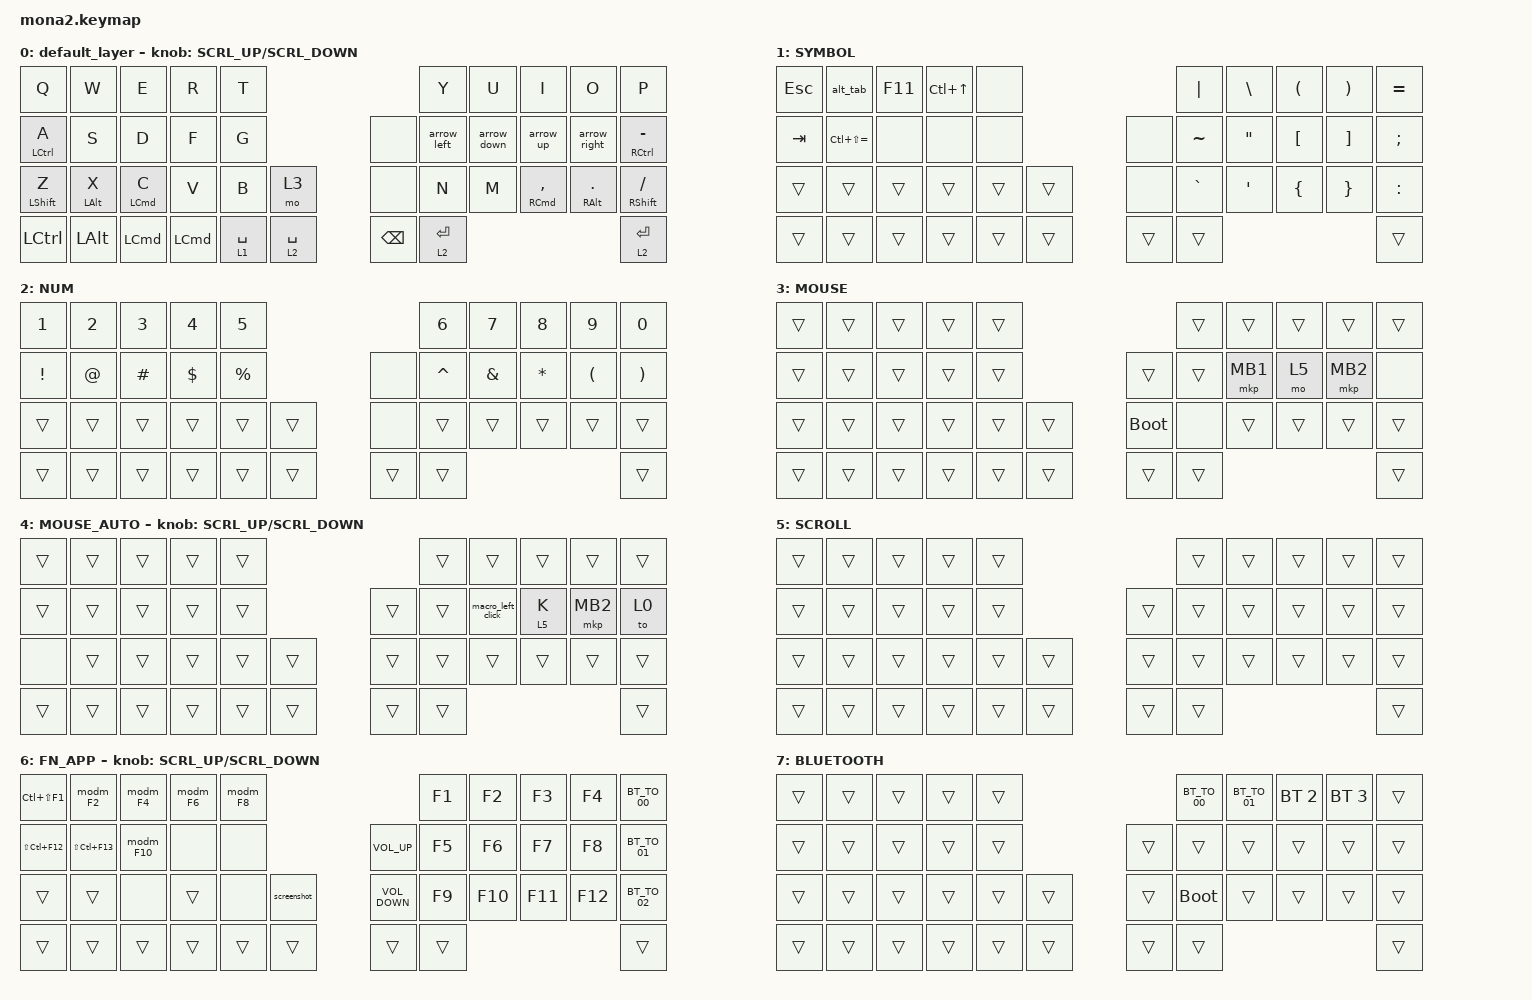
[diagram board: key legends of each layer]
#include <behaviors.dtsi>
#include <dt-bindings/zmk/bt.h>
#include <dt-bindings/zmk/keys.h>
#include <dt-bindings/zmk/pointing.h>
#include <input/processors.dtsi>

#define ZMK_POINTING_DEFAULT_SCRL_VAL 100
#define MOUSE 4
#define SCROLL 5
#define NUM 6

&mt {
    flavor = "balanced";
    quick-tap-ms = <0>;
    tapping-term-ms = <145>;
};

&lt {
    tapping-term-ms = <145>;
    quick-tap-ms = <0>;
    flavor = "balanced";
};

&sl { release-after-ms = <180>; };

// AML(レイヤー4)中にマウスクリックしたら250ms後にAML解除(ダブルクリック猶予)。
// zip_temp_layer は単一の共有インスタンスなので、こちらから reschedule すると
// 同じレイヤー状態のタイマーが 250ms に張り替わる (base chain 側は 30000ms)
&mkp_input_listener {
    input-processors = <&zip_temp_layer 4 250>;
};

/ {
    combos {
        compatible = "zmk,combos";

        CAG {
            bindings = <&kp LA(LG(LCTRL))>;
            key-positions = <22 23 21>;
        };

        CG {
            bindings = <&kp LG(LEFT_CONTROL)>;
            key-positions = <21 23>;
        };

        CA {
            bindings = <&kp LA(LCTRL)>;
            key-positions = <22 21>;
        };

        change_lang_left {
            bindings = <&change_language>;
            key-positions = <11 12 13>;
        };

        change_lang_right {
            bindings = <&change_language>;
            key-positions = <18 19 17>;
        };

        mute {
            bindings = <&lt 0 C_MUTE>;
            key-positions = <27 15>;
        };

        toLayer3 {
            bindings = <&mo 6>;
            key-positions = <37 40>;
        };
    };

    macros {
        change_language: change_language {
            compatible = "zmk,behavior-macro";
            #binding-cells = <0>;
            bindings =
                <&macro_press>,
                <&kp LEFT_COMMAND>,
                <&macro_wait_time 10>,
                <&macro_press>,
                <&kp SPACE>,
                <&macro_release>,
                <&kp LEFT_COMMAND &kp SPACE>;

            label = "CHANGE_LANGUAGE";
        };

        alt_tab: alt_tab {
            compatible = "zmk,behavior-macro";
            #binding-cells = <0>;
            bindings =
                <&macro_press>,
                <&kp LEFT_ALT>,
                <&macro_wait_time 20>,
                <&macro_tap>,
                <&kp TAB>,
                <&macro_release>,
                <&kp LEFT_ALT>;

            label = "ALT_TAB";
        };

        mouse_key_press: mouse_key_press {
            compatible = "zmk,behavior-macro";
            #binding-cells = <0>;
            bindings = <&macro_tap>, <&mkp MB1>;

            label = "MOUSE_KEY_PRESS";
        };

        macro_left_click: macro_left_click {
            compatible = "zmk,behavior-macro";
            #binding-cells = <0>;
            bindings =
                <&macro_press>,
                <&mkp LCLK>,
                <&macro_pause_for_release>,
                <&macro_release>,
                <&mkp LCLK>,
                <&macro_tap>,
                <&tog_off 4 &sl 4>;

            label = "MACRO_LEFT_CLICK";
        };

        BT_TO_00: BT_TO_00 {
            compatible = "zmk,behavior-macro";
            #binding-cells = <0>;
            bindings = <&macro_tap>, <&bt BT_SEL 0>, <&macro_tap>, <&to 0>;

            label = "BT_TO_00";
        };

        BT_TO_01: BT_TO_01 {
            compatible = "zmk,behavior-macro";
            #binding-cells = <0>;
            bindings = <&macro_tap>, <&bt BT_SEL 1>, <&macro_tap>, <&to 0>;

            label = "BT_TO_01";
        };

        BT_TO_02: BT_TO_02 {
            compatible = "zmk,behavior-macro";
            #binding-cells = <0>;
            bindings = <&macro_tap>, <&bt BT_SEL 2>, <&macro_tap>, <&to 0>;

            label = "BT_TO_02";
        };

        exit_AML: exit_AML {
            compatible = "zmk,behavior-macro";
            #binding-cells = <0>;
            wait-ms = <0>;
            bindings = <&tog_off 4>;

            label = "EXIT_AML";
        };

        // tap-ms は既定(30ms)のまま。0にするとホストがpress/releaseを
        // 取りこぼす可能性があり、多用するKの入力信頼性を優先する
        kp_exit_AML: kp_exit_AML {
            compatible = "zmk,behavior-macro-one-param";
            #binding-cells = <1>;
            wait-ms = <0>;
            bindings = <&macro_param_1to1 &kp MACRO_PLACEHOLDER &exit_AML>;

            label = "KP_EXIT_AML";
        };
    };

    behaviors {
        arrow_left: arrow_left {
            compatible = "zmk,behavior-mod-morph";
            label = "ARROW_LEFT";
            bindings = <&kp H>, <&kp LEFT>;

            #binding-cells = <0>;
            mods = <(MOD_LALT)>;
        };

        arrow_down: arrow_down {
            compatible = "zmk,behavior-mod-morph";
            label = "ARROW_DOWN";
            bindings = <&kp J>, <&kp DOWN>;

            #binding-cells = <0>;
            mods = <(MOD_LALT)>;
        };

        arrow_up: arrow_up {
            compatible = "zmk,behavior-mod-morph";
            label = "ARROW_UP";
            bindings = <&kp K>, <&kp UP_ARROW>;

            #binding-cells = <0>;
            mods = <(MOD_LALT)>;
        };

        arrow_right: arrow_right {
            compatible = "zmk,behavior-mod-morph";
            label = "ARROW_RIGHT";
            bindings = <&kp L>, <&kp RIGHT>;

            #binding-cells = <0>;
            mods = <(MOD_LALT)>;
        };

        modm_F2: modm_F2 {
            compatible = "zmk,behavior-mod-morph";
            label = "MODM_F2";
            bindings = <&kp LS(LC(F2))>, <&kp LS(LC(F3))>;

            #binding-cells = <0>;
            mods = <(MOD_LSFT|MOD_RSFT)>;
        };

        modm_F4: modm_F4 {
            compatible = "zmk,behavior-mod-morph";
            label = "MODM_F4";
            bindings = <&kp LS(LC(F4))>, <&kp LS(LC(F5))>;

            #binding-cells = <0>;
            mods = <(MOD_LSFT|MOD_RSFT)>;
        };

        modm_F6: modm_F6 {
            compatible = "zmk,behavior-mod-morph";
            label = "MODM_F6";
            bindings = <&kp LS(LC(F6))>, <&kp LS(LC(F7))>;

            #binding-cells = <0>;
            mods = <(MOD_LSFT|MOD_RSFT)>;
        };

        modm_F8: modm_F8 {
            compatible = "zmk,behavior-mod-morph";
            label = "MODM_F8";
            bindings = <&kp LS(LC(F8))>, <&kp LS(LC(F9))>;

            #binding-cells = <0>;
            mods = <(MOD_LSFT|MOD_RSFT)>;
        };

        modm_F10: modm_F10 {
            compatible = "zmk,behavior-mod-morph";
            label = "MODM_F10";
            bindings = <&kp LS(LC(F10))>, <&kp LS(LC(F11))>;

            #binding-cells = <0>;
            mods = <(MOD_LSFT|MOD_RSFT)>;
        };

        screenshot_cursor: screenshot_cursor {
            compatible = "zmk,behavior-mod-morph";
            label = "SCREENSHOT_CURSOR";
            bindings = <&kp LS(LG(NUMBER_4))>, <&kp LS(LG(NUMBER_6))>;

            #binding-cells = <0>;
            mods = <(MOD_LSFT|MOD_RSFT)>;
        };

        screenshot_area: screenshot_area {
            compatible = "zmk,behavior-mod-morph";
            label = "SCREENSHOT_AREA";
            bindings = <&kp LS(LG(N5))>, <&kp LS(LG(N7))>;

            #binding-cells = <0>;
            mods = <(MOD_LSFT|MOD_RSFT)>;
        };

        scroll_up_down: scroll_up_down {
            compatible = "zmk,behavior-sensor-rotate-var";
            label = "SCROLL_UP_DOWN";
            #sensor-binding-cells = <2>;
            bindings = <&msc>, <&msc>;

            tap-ms = <20>;
        };

        tog_off: toggle_layer_off_only {
            compatible = "zmk,behavior-toggle-layer";
            #binding-cells = <1>;
            display-name = "Toggle Layer Off";
            toggle-mode = "off";
        };

        screenshot: screenshot {
            compatible = "zmk,behavior-mod-morph";
            label = "SCREENSHOT";
            bindings = <&kp LS(LG(NUMBER_4))>, <&kp LS(LG(N5))>;

            #binding-cells = <0>;
            mods = <(MOD_LCTL|MOD_RCTL)>;
        };

        // AML中のK: タップで"k"を入力してAML解除／長押しでスクロールレイヤー
        mo_or_kp_exit_AML: mo_or_kp_exit_AML {
            compatible = "zmk,behavior-hold-tap";
            label = "MO_OR_KP_EXIT_AML";
            #binding-cells = <2>;
            bindings = <&mo>, <&kp_exit_AML>;

            tapping-term-ms = <200>;
            flavor = "balanced";
        };
    };

    keymap {
        compatible = "zmk,keymap";

        default_layer {
            bindings = <
&kp Q               &kp W           &kp E               &kp R             &kp T                                      &kp Y        &kp U        &kp I                    &kp O                 &kp P
&mt LEFT_CONTROL A  &kp S           &kp D               &kp F             &kp G                       &none          &arrow_left  &arrow_down  &arrow_up                &arrow_right          &mt RIGHT_CONTROL MINUS
&mt LEFT_SHIFT Z    &mt LEFT_ALT X  &mt LEFT_COMMAND C  &kp V             &kp B        &mo 3          &none          &kp N        &kp M        &mt RIGHT_COMMAND COMMA  &mt RIGHT_ALT PERIOD  &mt RIGHT_SHIFT SLASH
&kp LEFT_CONTROL    &kp LEFT_ALT    &kp LEFT_COMMAND    &kp LEFT_COMMAND  &lt 1 SPACE  &lt 2 SPACE    &kp BACKSPACE  &lt 2 ENTER                                                              &lt 2 ENTER
            >;

            sensor-bindings = <&scroll_up_down SCRL_UP SCRL_DOWN>;
        };

        SYMBOL {
            bindings = <
&kp ESCAPE  &alt_tab           &kp F11  &kp LC(UP_ARROW)  &none                     &kp PIPE   &kp BACKSLASH      &kp LEFT_PARENTHESIS  &kp RIGHT_PARENTHESIS  &kp EQUAL
&kp TAB     &kp LC(LS(EQUAL))  &none    &none             &none             &none   &kp TILDE  &kp DOUBLE_QUOTES  &kp LEFT_BRACKET      &kp RIGHT_BRACKET      &kp SEMICOLON
&trans      &trans             &trans   &trans            &trans  &trans    &none   &kp GRAVE  &kp SQT            &kp LEFT_BRACE        &kp RIGHT_BRACE        &kp COLON
&trans      &trans             &trans   &trans            &trans  &trans    &trans  &trans                                                                     &trans
            >;
        };

        NUM {
            bindings = <
&kp NUMBER_1     &kp NUMBER_2  &kp NUMBER_3  &kp NUMBER_4  &kp N5                         &kp NUMBER_6  &kp N7         &kp N8        &kp N9                &kp N0
&kp EXCLAMATION  &kp AT_SIGN   &kp HASH      &kp DOLLAR    &kp PERCENT            &none   &kp CARET     &kp AMPERSAND  &kp ASTERISK  &kp LEFT_PARENTHESIS  &kp RIGHT_PARENTHESIS
&trans           &trans        &trans        &trans        &trans       &trans    &none   &trans        &trans         &trans        &trans                &trans
&trans           &trans        &trans        &trans        &trans       &trans    &trans  &trans                                                           &trans
            >;
        };

        MOUSE {
            bindings = <
&trans  &trans  &trans  &trans  &trans                         &trans  &trans    &trans  &trans    &trans
&trans  &trans  &trans  &trans  &trans            &trans       &trans  &mkp MB1  &mo 5   &mkp MB2  &none
&trans  &trans  &trans  &trans  &trans  &trans    &bootloader  &none   &trans    &trans  &trans    &trans
&trans  &trans  &trans  &trans  &trans  &trans    &trans       &trans                              &trans
            >;
        };

        MOUSE_AUTO {
            bindings = <
&trans  &trans  &trans  &trans  &trans                    &trans  &trans             &trans  &trans    &trans
&trans  &trans  &trans  &trans  &trans            &trans  &trans  &macro_left_click  &mo_or_kp_exit_AML 5 K   &mkp MB2  &to 0
&none   &trans  &trans  &trans  &trans  &trans    &trans  &trans  &trans             &trans  &trans    &trans
&trans  &trans  &trans  &trans  &trans  &trans    &trans  &trans                                       &trans
            >;

            sensor-bindings = <&scroll_up_down SCRL_UP SCRL_DOWN>;
        };

        SCROLL {
            bindings = <
&trans  &trans  &trans  &trans  &trans                    &trans  &trans  &trans  &trans  &trans
&trans  &trans  &trans  &trans  &trans            &trans  &trans  &trans  &trans  &trans  &trans
&trans  &trans  &trans  &trans  &trans  &trans    &trans  &trans  &trans  &trans  &trans  &trans
&trans  &trans  &trans  &trans  &trans  &trans    &trans  &trans                          &trans
            >;
        };

        FN_APP {
            bindings = <
&kp LC(LS(F1))   &modm_F2         &modm_F4   &modm_F6  &modm_F8                                    &kp F1  &kp F2   &kp F3   &kp F4   &BT_TO_00
&kp LS(LC(F12))  &kp LS(LC(F13))  &modm_F10  &none     &none                    &kp C_VOLUME_UP    &kp F5  &kp F6   &kp F7   &kp F8   &BT_TO_01
&trans           &trans           &none      &trans    &none     &screenshot    &kp C_VOLUME_DOWN  &kp F9  &kp F10  &kp F11  &kp F12  &BT_TO_02
&trans           &trans           &trans     &trans    &trans    &trans         &trans             &trans                             &trans
            >;

            sensor-bindings = <&scroll_up_down SCRL_UP SCRL_DOWN>;
        };

        BLUETOOTH {
            bindings = <
&trans  &trans  &trans  &trans  &trans                    &BT_TO_00    &BT_TO_01  &bt BT_SEL 2  &bt BT_SEL 3  &trans
&trans  &trans  &trans  &trans  &trans            &trans  &trans       &trans     &trans        &trans        &trans
&trans  &trans  &trans  &trans  &trans  &trans    &trans  &bootloader  &trans     &trans        &trans        &trans
&trans  &trans  &trans  &trans  &trans  &trans    &trans  &trans                                              &trans
            >;
        };
    };
};
